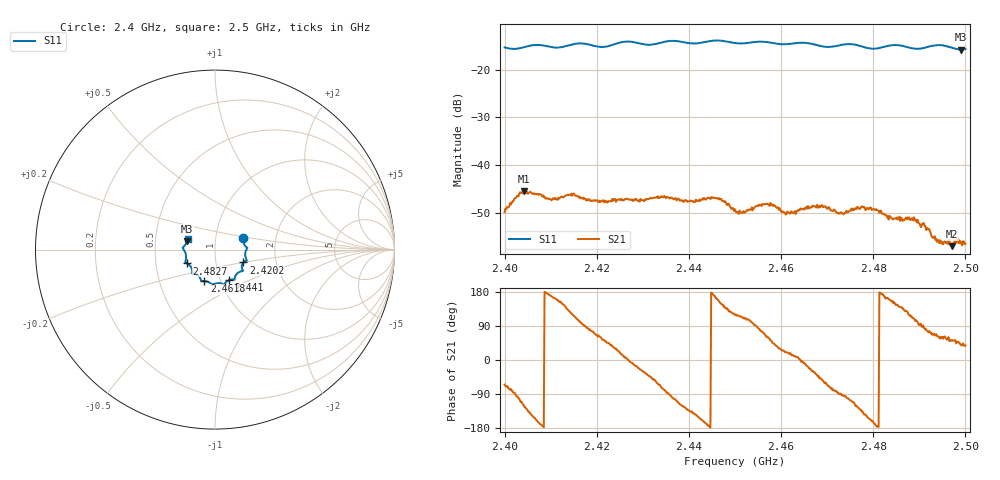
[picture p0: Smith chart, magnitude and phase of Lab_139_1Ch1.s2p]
# Hz S RI R 50
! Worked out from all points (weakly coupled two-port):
!   601 points, 2.4 GHz to 2.5 GHz, reference 50 ohm
!   highest |S21| = -45.47 dB at 2.4042 GHz (marker M1); lowest = -56.9 dB at 2.497 GHz (marker M2)
!   lowest |S11| = -15.8 dB at 2.499 GHz (marker M3), VSWR 1.39, Z = 36.4 + j3.47 ohm
!   |S11| at or under -10 dB: start of sweep to end of sweep
!   S12 and S22 are empty: the file has one direction only
!   S11 on the Smith chart (normalised r, x): 2.4 GHz: 1.36, +0.18; 2.4202 GHz: 1.36, -0.20; 2.441 GHz: 1.10, -0.39; 2.4618 GHz: 0.84, -0.30; 2.4827 GHz: 0.72, -0.12; 2.5 GHz: 0.73, +0.09
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2.4e9  0.1583 0.0626  0.00137 -0.00293  0 0  0 0
2.404167e9  0.1702 0.0183  -0.00259 -0.00466  0 0  0 0
2.409833e9  0.1727 -0.00453  -0.00436 0.00077  0 0  0 0
2.4145e9  0.1745 -0.0527  -0.00277 0.00424  0 0  0 0
2.416667e9  0.1775 -0.0607  -0.000622 0.00448  0 0  0 0
2.420167e9  0.1583 -0.0714  0.00199 0.00383  0 0  0 0
2.433333e9  0.1116 -0.1507  0.00209 -0.00425  0 0  0 0
2.441e9  0.0785 -0.1699  -0.00325 -0.00265  0 0  0 0
2.4465e9  0.0491 -0.195  -0.00412 0.00192  0 0  0 0
2.45e9  0.0281 -0.1872  -0.00168 0.00302  0 0  0 0
2.4565e9  -0.0175 -0.194  0.00153 0.00363  0 0  0 0
2.461833e9  -0.0592 -0.1758  0.00301 0.000876  0 0  0 0
2.466667e9  -0.0786 -0.1682  0.00319 -0.00173  0 0  0 0
2.473333e9  -0.122 -0.1347  -0.000113 -0.00314  0 0  0 0
2.477667e9  -0.1266 -0.1188  -0.00265 -0.00259  0 0  0 0
2.482667e9  -0.1562 -0.0774  -0.0029 0.000941  0 0  0 0
2.483333e9  -0.1603 -0.0754  -0.00256 0.000894  0 0  0 0
2.488833e9  -0.1609 -0.0392  -0.000968 0.00269  0 0  0 0
2.494e9  -0.1799 0.00887  0.00076 0.00145  0 0  0 0
2.497e9  -0.1679 0.0237  0.000881 0.00112  0 0  0 0
2.499e9  -0.1551 0.0464  0.0012 0.00106  0 0  0 0
2.5e9  -0.1521 0.0608  0.00118 0.000932  0 0  0 0
